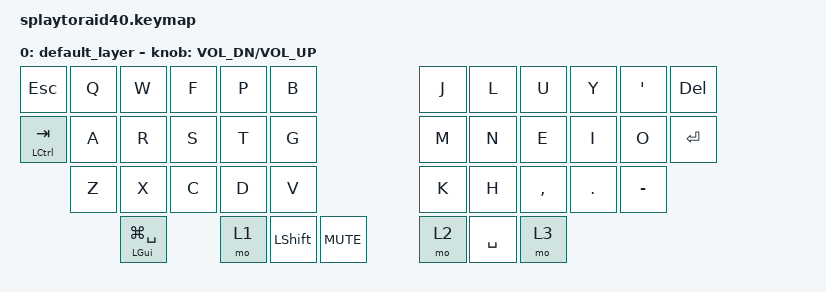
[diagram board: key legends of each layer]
#include <behaviors.dtsi>
#include <dt-bindings/zmk/bt.h>
#include <dt-bindings/zmk/keys.h>
// #include <dt-bindings/zmk/rgb.h>
// #include <dt-bindings/zmk/outputs.h>

/ {
        keymap {
                compatible = "zmk,keymap";

                default_layer {
//          -----------------------------------------               -----------------------------------------
// ---------|   Q   |   W   |   E   |   R   |   T   |     split     |   Y   |   U   |   I   |   O   |   P   |---------
// |  ESC   |----------------------------------------               ----------------------------------------|   DEL  |
// ---------|   A   |   S   |   D   |   F   |   G   |     split     |   H   |   J   |   K   |   L   |   '   |---------
// |  CTRL  |----------------------------------------               ----------------------------------------|   RET  |
// ---------|   Z   |   X   |   C   |   D   |   V   |     split     |   K   |   H   |   ,   |   .   |   -   |---------
//          -------------------------------------------------------------------------------------------------
//                          |  LGUI | LOWER | LSHFT |    ENC MUTE   | RAISE |  SPC  | ADJUST|
//                          -----------------------------------------------------------------
      bindings = <
    &kp ESC       &kp Q  &kp W   &kp F    &kp P  &kp B     /*split*/    &kp J  &kp L   &kp U     &kp Y   &kp SQT &kp DEL
    &mt LCTRL TAB &kp A  &kp R   &kp S    &kp T  &kp G     /*split*/    &kp M  &kp N   &kp E     &kp I   &kp O   &kp RET
                  &kp Z  &kp X   &kp C    &kp D  &kp V     /*split*/    &kp K  &kp H   &kp COMMA &kp DOT &kp MINUS 
                       &mt LGUI LG(SPACE) &mo 1  &kp LSHFT  &kp C_MUTE  &mo 2  &kp SPACE &mo 3

                        >;
                sensor-bindings = <&inc_dec_kp C_VOL_DN C_VOL_UP>;
                };
        };
};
